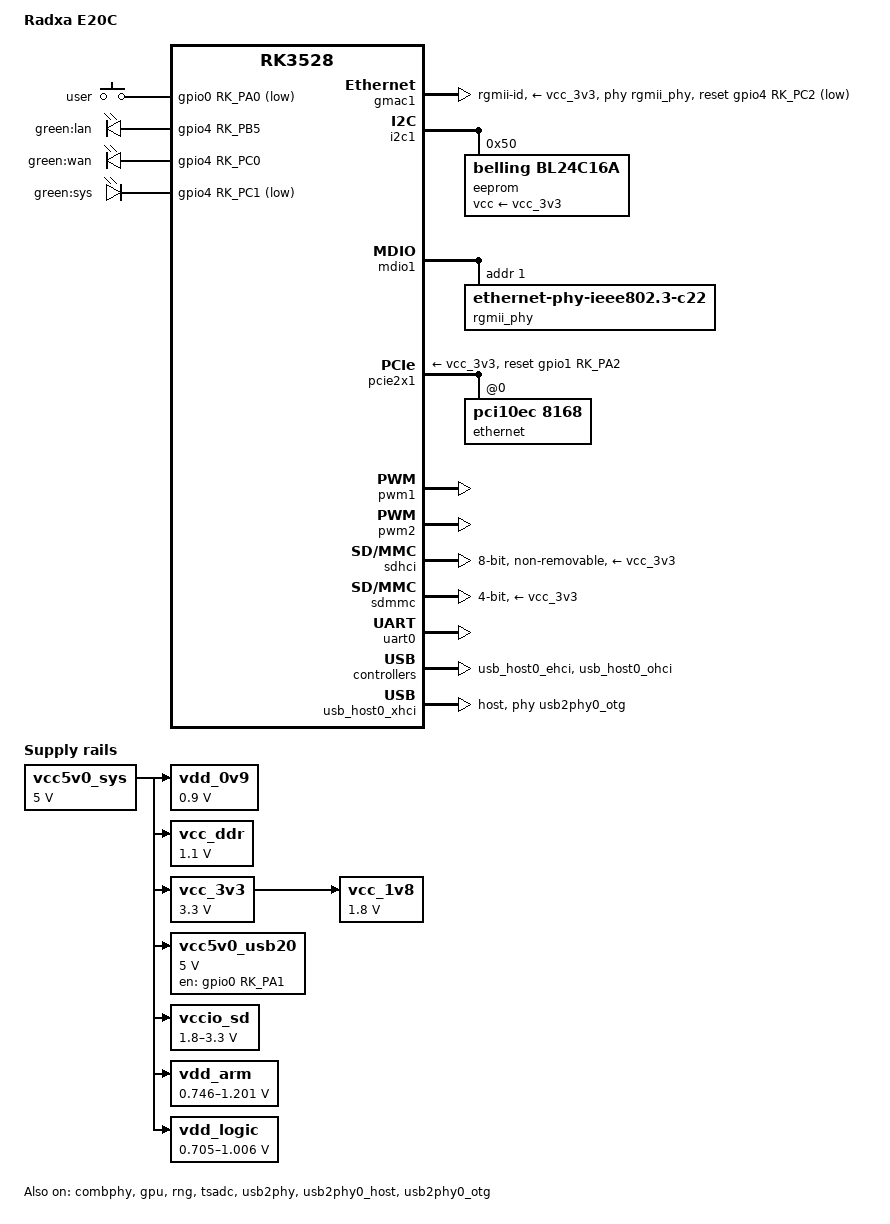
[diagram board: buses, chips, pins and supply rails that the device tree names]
// SPDX-License-Identifier: (GPL-2.0+ OR MIT)
// Copyright (c) 2024 AY <amadeus@jmu.edu.cn>

/dts-v1/;

#include <dt-bindings/gpio/gpio.h>
#include <dt-bindings/input/input.h>
#include <dt-bindings/pinctrl/rockchip.h>
#include "rk3528.dtsi"

/ {
	model = "Radxa E20C";
	compatible = "radxa,e20c", "rockchip,rk3528";

	aliases {
		mmc0 = &sdhci;
		mmc1 = &sdmmc;

		led-boot = &led_sys;
		led-failsafe = &led_sys;
		led-running = &led_sys;
		led-upgrade = &led_sys;
	};

	chosen {
		stdout-path = "serial0:1500000n8";
	};

	keys {
		compatible = "gpio-keys";
		pinctrl-names = "default";
		pinctrl-0 = <&user_key>;

		button-user {
			label = "user";
			linux,code = <KEY_RESTART>;
			gpios = <&gpio0 RK_PA0 GPIO_ACTIVE_LOW>;
			debounce-interval = <100>;
		};
	};

	leds {
		compatible = "gpio-leds";
		pinctrl-names = "default";
		pinctrl-0 = <&lan_led_g>, <&wan_led_g>, <&sys_led_g>;

		lan {
			label = "green:lan";
			gpios = <&gpio4 RK_PB5 GPIO_ACTIVE_HIGH>;
		};

		wan {
			label = "green:wan";
			gpios = <&gpio4 RK_PC0 GPIO_ACTIVE_HIGH>;
		};

		led_sys: sys {
			label = "green:sys";
			gpios = <&gpio4 RK_PC1 GPIO_ACTIVE_LOW>;
		};
	};

	vdd_0v9: regulator-0v9-vdd {
		compatible = "regulator-fixed";
		regulator-name = "vdd_0v9";
		regulator-always-on;
		regulator-boot-on;
		regulator-min-microvolt = <900000>;
		regulator-max-microvolt = <900000>;
		vin-supply = <&vcc5v0_sys>;
	};

	vcc_ddr: regulator-1v1-vcc-ddr {
		compatible = "regulator-fixed";
		regulator-name = "vcc_ddr";
		regulator-always-on;
		regulator-boot-on;
		regulator-min-microvolt = <1100000>;
		regulator-max-microvolt = <1100000>;
		vin-supply = <&vcc5v0_sys>;
	};

	vcc_1v8: regulator-1v8-vcc {
		compatible = "regulator-fixed";
		regulator-name = "vcc_1v8";
		regulator-always-on;
		regulator-boot-on;
		regulator-min-microvolt = <1800000>;
		regulator-max-microvolt = <1800000>;
		vin-supply = <&vcc_3v3>;
	};

	vcc_3v3: regulator-3v3-vcc {
		compatible = "regulator-fixed";
		regulator-name = "vcc_3v3";
		regulator-always-on;
		regulator-boot-on;
		regulator-min-microvolt = <3300000>;
		regulator-max-microvolt = <3300000>;
		vin-supply = <&vcc5v0_sys>;
	};

	vcc5v0_sys: regulator-5v0-vcc-sys {
		compatible = "regulator-fixed";
		regulator-name = "vcc5v0_sys";
		regulator-always-on;
		regulator-boot-on;
		regulator-min-microvolt = <5000000>;
		regulator-max-microvolt = <5000000>;
	};

	vcc5v0_usb20: regulator-5v0-vcc-usb20 {
		compatible = "regulator-fixed";
		enable-active-high;
		gpios = <&gpio0 RK_PA1 GPIO_ACTIVE_HIGH>;
		pinctrl-names = "default";
		pinctrl-0 = <&usb_host_en>;
		regulator-name = "vcc5v0_usb20";
		regulator-min-microvolt = <5000000>;
		regulator-max-microvolt = <5000000>;
		vin-supply = <&vcc5v0_sys>;
	};

	vccio_sd: regulator-vccio-sd {
		compatible = "regulator-gpio";
		gpios = <&gpio4 RK_PB6 GPIO_ACTIVE_HIGH>;
		pinctrl-names = "default";
		pinctrl-0 = <&sdmmc_vol_ctrl_h>;
		regulator-name = "vccio_sd";
		regulator-min-microvolt = <1800000>;
		regulator-max-microvolt = <3300000>;
		states = <1800000 0x0>, <3300000 0x1>;
		vin-supply = <&vcc5v0_sys>;
	};

	vdd_arm: regulator-vdd-arm {
		compatible = "pwm-regulator";
		pwms = <&pwm1 0 5000 1>;
		pwm-supply = <&vcc5v0_sys>;
		regulator-name = "vdd_arm";
		regulator-always-on;
		regulator-boot-on;
		regulator-min-microvolt = <746000>;
		regulator-max-microvolt = <1201000>;
		regulator-settling-time-up-us = <250>;
	};

	vdd_logic: regulator-vdd-logic {
		compatible = "pwm-regulator";
		pwms = <&pwm2 0 5000 1>;
		pwm-supply = <&vcc5v0_sys>;
		regulator-name = "vdd_logic";
		regulator-always-on;
		regulator-boot-on;
		regulator-min-microvolt = <705000>;
		regulator-max-microvolt = <1006000>;
		regulator-settling-time-up-us = <250>;
	};
};

&combphy {
	status = "okay";
};

&cpu0 {
	cpu-supply = <&vdd_arm>;
};

&cpu1 {
	cpu-supply = <&vdd_arm>;
};

&cpu2 {
	cpu-supply = <&vdd_arm>;
};

&cpu3 {
	cpu-supply = <&vdd_arm>;
};

&gmac1 {
	clock_in_out = "output";
	nvmem-cells = <&eth_mac1>;
	nvmem-cell-names = "mac-address";
	pinctrl-names = "default";
	pinctrl-0 = <&rgmii_miim
		     &rgmii_tx_bus2
		     &rgmii_rx_bus2
		     &rgmii_rgmii_clk
		     &rgmii_rgmii_bus>;
	phy-handle = <&rgmii_phy>;
	phy-mode = "rgmii-id";
	phy-supply = <&vcc_3v3>;
	snps,reset-active-low;
	snps,reset-delays-us = <0 20000 100000>;
	snps,reset-gpio = <&gpio4 RK_PC2 GPIO_ACTIVE_LOW>;
	status = "okay";
};

&gpu {
	mali-supply = <&vdd_logic>;
	status = "okay";
};

&i2c1 {
	status = "okay";

	eeprom@50 {
		compatible = "belling,bl24c16a", "atmel,24c16";
		#address-cells = <1>;
		#size-cells = <1>;
		reg = <0x50>;
		pagesize = <16>;
		read-only;
		vcc-supply = <&vcc_3v3>;

		nvmem-layout {
			compatible = "fixed-layout";
			#address-cells = <1>;
			#size-cells = <1>;

			eth_mac0: macaddr@9e {
				reg = <0x9e 0x06>;
			};

			eth_mac1: macaddr@a4 {
				reg = <0xa4 0x06>;
			};
		};
	};
};

&mdio1 {
	rgmii_phy: ethernet-phy@1 {
		compatible = "ethernet-phy-ieee802.3-c22";
		reg = <0x1>;
	};
};

&pcie2x1 {
	reset-gpios = <&gpio1 RK_PA2 GPIO_ACTIVE_HIGH>;
	vpcie3v3-supply = <&vcc_3v3>;
	status = "okay";

	bridge@0,0 {
		reg = <0x00000000 0 0 0 0>;
		#address-cells = <3>;
		#size-cells = <2>;
		ranges;

		ethernet@0,0 {
			compatible = "pci10ec,8168";
			reg = <0x000000 0 0 0 0>;
			realtek,led-data = <0xca>;
		};
	};
};

&pinctrl {
	keys {
		user_key: user-key {
			rockchip,pins = <0 RK_PA0 RK_FUNC_GPIO &pcfg_pull_up>;
		};
	};

	leds {
		lan_led_g: lan-led-g {
			rockchip,pins = <4 RK_PB5 RK_FUNC_GPIO &pcfg_pull_none>;
		};

		wan_led_g: wan-led-g {
			rockchip,pins = <4 RK_PC0 RK_FUNC_GPIO &pcfg_pull_none>;
		};

		sys_led_g: sys-led-g {
			rockchip,pins = <4 RK_PC1 RK_FUNC_GPIO &pcfg_pull_none>;
		};
	};

	sdmmc {
		sdmmc_vol_ctrl_h: sdmmc-vol-ctrl-h {
			rockchip,pins = <4 RK_PB6 RK_FUNC_GPIO &pcfg_pull_none>;
		};
	};

	usb {
		usb_host_en: usb-host-en {
			rockchip,pins = <0 RK_PA1 RK_FUNC_GPIO &pcfg_pull_none>;
		};
	};
};

&pwm1 {
	status = "okay";
};

&pwm2 {
	status = "okay";
};

&rng {
	status = "okay";
};

&sdhci {
	bus-width = <8>;
	mmc-hs200-1_8v;
	max-frequency = <200000000>;
	non-removable;
	pinctrl-names = "default";
	pinctrl-0 = <&emmc_bus8 &emmc_clk &emmc_cmd &emmc_strb>;
	vmmc-supply = <&vcc_3v3>;
	vqmmc-supply = <&vcc_1v8>;
	status = "okay";
};

&sdmmc {
	bus-width = <4>;
	cap-sd-highspeed;
	disable-wp;
	max-frequency = <150000000>;
	pinctrl-names = "default";
	pinctrl-0 = <&sdmmc_bus4 &sdmmc_clk &sdmmc_cmd &sdmmc_det>;
	rockchip,default-sample-phase = <90>;
	sd-uhs-sdr104;
	vmmc-supply = <&vcc_3v3>;
	vqmmc-supply = <&vccio_sd>;
	status = "okay";
};

&tsadc {
	status = "okay";
};

&uart0 {
	pinctrl-names = "default";
	pinctrl-0 = <&uart0m0_xfer>;
	status = "okay";
};

&usb2phy {
	status = "okay";
};

&usb2phy0_host {
	phy-supply = <&vcc5v0_usb20>;
	status = "okay";
};

&usb2phy0_otg {
	status = "okay";
};

&usb_host0_ehci {
	status = "okay";
};

&usb_host0_ohci {
	status = "okay";
};

&usb_host0_xhci {
	dr_mode = "host";
	maximum-speed = "high-speed";
	phys = <&usb2phy0_otg>;
	phy-names = "usb2-phy";
	status = "okay";
};
